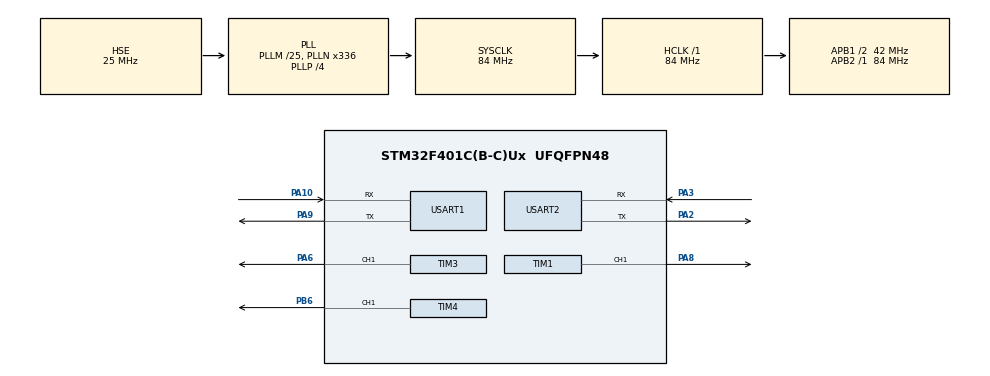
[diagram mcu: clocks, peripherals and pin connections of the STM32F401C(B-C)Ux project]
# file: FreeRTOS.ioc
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FREERTOS.Tasks01=defaultTask,24,128,StartDefaultTask,Default,NULL,Dynamic,NULL,NULL
Mcu.Family=STM32F4
Mcu.Name=STM32F401C(B-C)Ux
Mcu.Package=UFQFPN48
NVIC.PriorityGroup=NVIC_PRIORITYGROUP_4
NVIC.TIM3_IRQn=true\:5\:0\:false\:false\:true\:true\:true\:true
NVIC.USART1_IRQn=true\:5\:0\:false\:false\:true\:true\:true\:true
NVIC.USART2_IRQn=true\:5\:0\:false\:false\:true\:true\:true\:true
PA10.Mode=Asynchronous
PA10.Signal=USART1_RX
PA2.Mode=Asynchronous
PA2.Signal=USART2_TX
PA3.Mode=Asynchronous
PA3.Signal=USART2_RX
PA6.Signal=S_TIM3_CH1
PA8.Signal=S_TIM1_CH1
PA9.Mode=Asynchronous
PA9.Signal=USART1_TX
PB6.Signal=S_TIM4_CH1
PC14-OSC32_IN.Mode=LSE-External-Oscillator
PC14-OSC32_IN.Signal=RCC_OSC32_IN
PC15-OSC32_OUT.Mode=LSE-External-Oscillator
PC15-OSC32_OUT.Signal=RCC_OSC32_OUT
PH0\ -\ OSC_IN.Mode=HSE-External-Oscillator
PH0\ -\ OSC_IN.Signal=RCC_OSC_IN
PH1\ -\ OSC_OUT.Mode=HSE-External-Oscillator
PH1\ -\ OSC_OUT.Signal=RCC_OSC_OUT
ProjectManager.HeapSize=0x200
ProjectManager.StackSize=0x800
ProjectManager.TargetToolchain=SW4STM32
RCC.48MHZClocksFreq_Value=84000000
RCC.AHBFreq_Value=84000000
RCC.APB1CLKDivider=RCC_HCLK_DIV2
RCC.APB1Freq_Value=42000000
RCC.APB1TimFreq_Value=84000000
RCC.APB2Freq_Value=84000000
RCC.APB2TimFreq_Value=84000000
RCC.CortexFreq_Value=84000000
RCC.HCLKFreq_Value=84000000
RCC.HSE_VALUE=25000000
RCC.HSI_VALUE=16000000
RCC.PLLM=25
RCC.PLLN=336
RCC.PLLP=RCC_PLLP_DIV4
RCC.PLLSourceVirtual=RCC_PLLSOURCE_HSE
RCC.SYSCLKFreq_VALUE=84000000
RCC.SYSCLKSource=RCC_SYSCLKSOURCE_PLLCLK
RCC.VCOOutputFreq_Value=336000000
SH.S_TIM1_CH1.0=TIM1_CH1,PWM Generation1 CH1
SH.S_TIM3_CH1.0=TIM3_CH1,PWM Generation1 CH1
SH.S_TIM4_CH1.0=TIM4_CH1,PWM Generation1 CH1
TIM1.Channel-PWM\ Generation1\ CH1=TIM_CHANNEL_1
TIM1.Period=840-1
TIM1.Prescaler=10-1
TIM3.Channel-PWM\ Generation1\ CH1=TIM_CHANNEL_1
TIM3.Period=840-1
TIM3.Prescaler=10-1
TIM4.Channel-PWM\ Generation1\ CH1=TIM_CHANNEL_1
TIM4.Period=840-1
TIM4.Prescaler=10-1
USART1.VirtualMode=VM_ASYNC
USART2.VirtualMode=VM_ASYNC
VP_FREERTOS_VS_CMSIS_V2.Mode=CMSIS_V2
VP_TIM1_VS_ClockSourceINT.Mode=Internal
VP_TIM3_VS_ClockSourceINT.Mode=Internal
VP_TIM4_VS_ClockSourceINT.Mode=Internal
board=custom

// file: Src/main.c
/* USER CODE BEGIN Header */
/**
  ******************************************************************************
  * @file           : main.c
  * @brief          : Main program body
  ******************************************************************************
  * @attention
  *
  * <h2><center>&copy; Copyright (c) 2020 STMicroelectronics.
  * All rights reserved.</center></h2>
  *
  * This software component is licensed by ST under Ultimate Liberty license
  * SLA0044, the "License"; You may not use this file except in compliance with
  * the License. You may obtain a copy of the License at:
  *                             www.st.com/SLA0044
  *
  ******************************************************************************
  */
/* USER CODE END Header */

#include "main.h"
#include "cmsis_os.h"
#include "tim.h"
#include "usart.h"
#include "gpio.h"

/* USER CODE BEGIN Includes */
#include "task.h"
#include "log.h"
/* USER CODE END Includes */

/* USER CODE BEGIN PTD */
#pragma clang diagnostic push
#pragma clang diagnostic ignored "-Wmissing-noreturn"

/* USER CODE END PTD */

void SystemClock_Config(void);

void MX_FREERTOS_Init(void);

/* USER CODE BEGIN 0 */

uint32_t lastTime = 0;

int light = 0;
int lightBool = 0;

void vTask1(void *pvParameters) {
    //如果有初使化，放在死循环之前
//    for (;;) //一个死循环
//    {
    //任务代码
    uint32_t time = HAL_GetTick();
    __HAL_TIM_SET_COMPARE(&htim1, TIM_CHANNEL_1, light);
    __HAL_TIM_SET_COMPARE(&htim4, TIM_CHANNEL_1, light);
    __HAL_TIM_SET_COMPARE(&htim3, TIM_CHANNEL_1, light);
    if (lightBool == 0) {
        if (light < 100) {
            light++;
        } else {
            lightBool = 1;
        }
    } else {
        if (light > 0) {
            light--;
        } else {
            lightBool = 0;
        }
    }
    Log("亮度: %d\r\n", light);
//    HAL_GPIO_WritePin(GPIOB, GPIO_PIN_5, GPIO_PIN_SET);
//    HAL_GPIO_WritePin(GPIOB, GPIO_PIN_6, GPIO_PIN_SET);
    lastTime = time;
    //}
}

void info(void) {
    char infobuf[100];
    osVersion_t osv;
    osStatus_t status;
    status = osKernelGetInfo(&osv, infobuf, sizeof(infobuf));
    if (status == osOK) {
        Log("Kernel Information: %s\r\n", infobuf);
        Log("Kernel Version : %d\r\n", osv.kernel);
        Log("Kernel API Version: %d\r\n", osv.api);
    }
}

/* USER CODE END 0 */

int main(void) {

    /* MCU Configuration--------------------------------------------------------*/

    /* Reset of all peripherals, Initializes the Flash interface and the Systick. */
    HAL_Init();

    /* Configure the system clock */
    SystemClock_Config();

    /* Initialize all configured peripherals */
    MX_GPIO_Init();
    MX_USART1_UART_Init();
    MX_USART2_UART_Init();
    MX_TIM3_Init();
    MX_TIM1_Init();
    MX_TIM4_Init();
    /* USER CODE BEGIN 2 */

    Log("Free Rios Init\r\n");
    MX_FREERTOS_Init();

    info();

    HAL_TIM_PWM_Start(&htim3, TIM_CHANNEL_1);
    HAL_TIM_PWM_Start(&htim1, TIM_CHANNEL_1);
    HAL_TIM_PWM_Start(&htim4, TIM_CHANNEL_1);

    osTimerId_t timer_id = osTimerNew(vTask1, osTimerPeriodic, (void *) 0, NULL);
    osTimerStart(timer_id, 1);

    /* USER CODE END 2 */

    /* Call init function for freertos objects (in freertos.c) */
    //MX_FREERTOS_Init();

    /* Start scheduler */
    osKernelStart();

    /* We should never get here as control is now taken by the scheduler */

    /* Infinite loop */
    while (1) {

    }
}

void SystemClock_Config(void) {
    RCC_OscInitTypeDef RCC_OscInitStruct = {0};
    RCC_ClkInitTypeDef RCC_ClkInitStruct = {0};

    /** Configure the main internal regulator output voltage
    */
    __HAL_RCC_PWR_CLK_ENABLE();
    __HAL_PWR_VOLTAGESCALING_CONFIG(PWR_REGULATOR_VOLTAGE_SCALE2);
    /** Initializes the CPU, AHB and APB busses clocks
    */
    RCC_OscInitStruct.OscillatorType = RCC_OSCILLATORTYPE_HSE;
    RCC_OscInitStruct.HSEState = RCC_HSE_ON;
    RCC_OscInitStruct.PLL.PLLState = RCC_PLL_ON;
    RCC_OscInitStruct.PLL.PLLSource = RCC_PLLSOURCE_HSE;
    RCC_OscInitStruct.PLL.PLLM = 25;
    RCC_OscInitStruct.PLL.PLLN = 336;
    RCC_OscInitStruct.PLL.PLLP = RCC_PLLP_DIV4;
    RCC_OscInitStruct.PLL.PLLQ = 4;
    if (HAL_RCC_OscConfig(&RCC_OscInitStruct) != HAL_OK) {
        Error_Handler();
    }
    /** Initializes the CPU, AHB and APB busses clocks
    */
    RCC_ClkInitStruct.ClockType = RCC_CLOCKTYPE_HCLK | RCC_CLOCKTYPE_SYSCLK
                                  | RCC_CLOCKTYPE_PCLK1 | RCC_CLOCKTYPE_PCLK2;
    RCC_ClkInitStruct.SYSCLKSource = RCC_SYSCLKSOURCE_PLLCLK;
    RCC_ClkInitStruct.AHBCLKDivider = RCC_SYSCLK_DIV1;
    RCC_ClkInitStruct.APB1CLKDivider = RCC_HCLK_DIV2;
    RCC_ClkInitStruct.APB2CLKDivider = RCC_HCLK_DIV1;

    if (HAL_RCC_ClockConfig(&RCC_ClkInitStruct, FLASH_LATENCY_2) != HAL_OK) {
        Error_Handler();
    }
}

void Error_Handler(void) {
}

/************************ (C) COPYRIGHT STMicroelectronics *****END OF FILE****/

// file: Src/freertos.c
/* USER CODE BEGIN Header */
/**
  ******************************************************************************
  * File Name          : freertos.c
  * Description        : Code for freertos applications
  ******************************************************************************
  * @attention
  *
  * <h2><center>&copy; Copyright (c) 2020 STMicroelectronics.
  * All rights reserved.</center></h2>
  *
  * This software component is licensed by ST under Ultimate Liberty license
  * SLA0044, the "License"; You may not use this file except in compliance with
  * the License. You may obtain a copy of the License at:
  *                             www.st.com/SLA0044
  *
  ******************************************************************************
  */
/* USER CODE END Header */

#include "FreeRTOS.h"
#include "task.h"
#include "main.h"
#include "cmsis_os.h"

osThreadId_t defaultTaskHandle;

void StartDefaultTask(void *argument);

void MX_FREERTOS_Init(void); /* (MISRA C 2004 rule 8.1) */

void MX_FREERTOS_Init(void) {
osKernelInitialize();

  /* Create the thread(s) */
  /* definition and creation of defaultTask */
  const osThreadAttr_t defaultTask_attributes = {
    .name = "defaultTask",
    .priority = (osPriority_t) osPriorityNormal,
    .stack_size = 128
  };
  defaultTaskHandle = osThreadNew(StartDefaultTask, NULL, &defaultTask_attributes);

}

void StartDefaultTask(void *argument)
{
  for(;;)
  {
    osDelay(1);
  }
}

/************************ (C) COPYRIGHT STMicroelectronics *****END OF FILE****/
